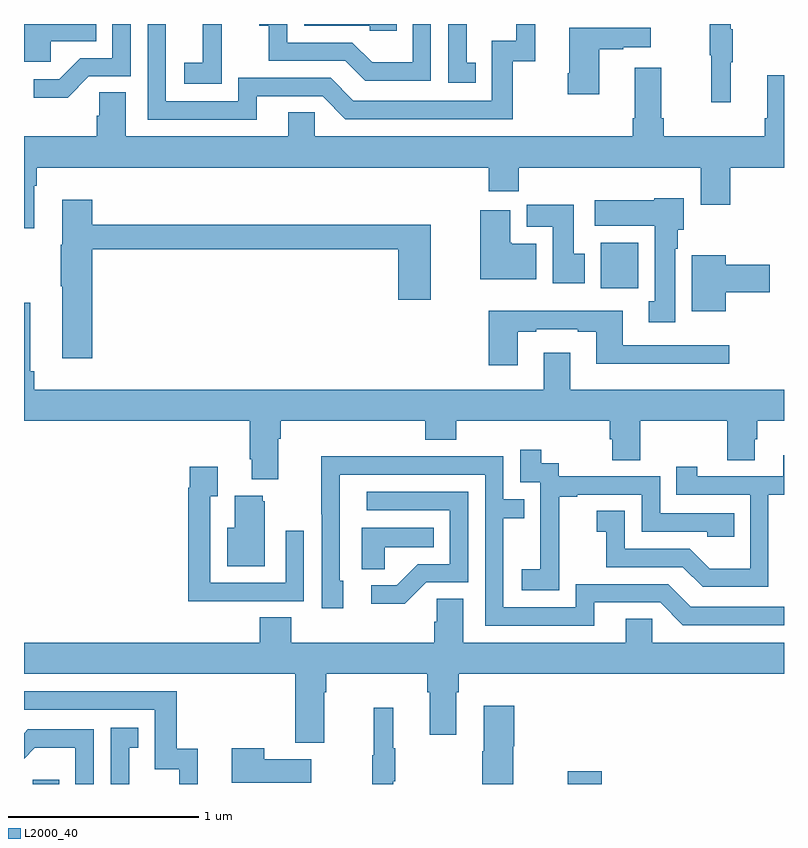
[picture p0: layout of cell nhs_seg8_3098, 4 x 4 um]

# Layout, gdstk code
import gdstk
lib = gdstk.Library(unit=1e-6, precision=1e-09)
def R(c, l, rs):  # rectangles x0, y0, x1, y1
    for r in rs: c.add(gdstk.rectangle(r[:2], r[2:], *l))
def P(c, l, *ps):  # polygons
    for p in ps: c.add(gdstk.Polygon(p, *l))
L2000_40 = (2000, 40)

nhs_seg8_3098 = lib.new_cell('nhs_seg8_3098')
R(nhs_seg8_3098, L2000_40, [(303.045,1135.9,303.185,1135.923), (305.863,1135.9,306.041,1135.966), (306.035,1138.508,306.232,1138.75)])
P(nhs_seg8_3098, L2000_40, [(304.225,1139.52),(304.572,1139.52),(304.692,1139.4),(305.572,1139.4),(305.572,1139.703),(305.69,1139.703),(305.69,1139.9),(305.592,1139.9),(305.592,1139.811),(305.463,1139.811),(305.463,1139.496),(304.734,1139.496),(304.614,1139.616),(304.128,1139.616),(304.128,1139.493),(303.747,1139.493),(303.747,1139.9),(303.651,1139.9),(303.651,1139.397),(304.225,1139.397)],
  [(305.142,1139.9),(305.046,1139.9),(305.046,1139.698),(304.832,1139.698),(304.728,1139.802),(304.386,1139.802),(304.386,1139.9),(304.239,1139.9),(304.239,1139.891),(304.288,1139.891),(304.288,1139.706),(304.691,1139.706),(304.796,1139.601),(305.142,1139.601)],
  [(303.342,1139.625),(303.561,1139.625),(303.561,1139.9),(303.465,1139.9),(303.465,1139.721),(303.296,1139.721),(303.185,1139.61),(303.051,1139.61),(303.051,1139.513),(303.229,1139.513)],
  [(304.961,1139.9),(304.476,1139.9),(304.476,1139.892),(304.821,1139.892),(304.821,1139.865),(304.961,1139.865)],
  [(304.041,1139.791),(304.04,1139.791),(304.04,1139.9),(303.941,1139.9),(303.941,1139.695),(303.843,1139.695),(303.843,1139.585),(304.041,1139.585)],
  [(303.141,1139.81),(303.38,1139.81),(303.38,1139.9),(303,1139.9),(303,1139.702),(303.141,1139.702)],
  [(306.719,1139.699),(306.73,1139.699),(306.73,1139.873),(306.719,1139.873),(306.719,1139.9),(306.609,1139.9),(306.609,1139.736),(306.616,1139.736),(306.616,1139.487),(306.719,1139.487)],
  [(305.378,1139.697),(305.329,1139.697),(305.329,1139.9),(305.232,1139.9),(305.232,1139.592),(305.378,1139.592)],
  [(306.028,1139.767),(306.155,1139.767),(306.155,1139.777),(306.298,1139.777),(306.298,1139.881),(305.87,1139.881),(305.87,1139.641),(305.863,1139.641),(305.863,1139.529),(306.028,1139.529)],
  [(303.055,1139.048),(303.068,1139.048),(303.068,1139.144),(305.447,1139.144),(305.447,1139.02),(305.603,1139.02),(305.603,1139.144),(306.563,1139.144),(306.563,1138.95),(306.716,1138.95),(306.716,1139.144),(307,1139.144),(307,1139.629),(306.911,1139.629),(306.911,1139.404),(306.899,1139.404),(306.899,1139.308),(306.368,1139.308),(306.368,1139.404),(306.355,1139.404),(306.355,1139.671),(306.215,1139.671),(306.215,1139.404),(306.203,1139.404),(306.203,1139.308),(304.53,1139.308),(304.53,1139.435),(304.391,1139.435),(304.391,1139.308),(303.535,1139.308),(303.535,1139.54),(303.396,1139.54),(303.396,1139.417),(303.383,1139.417),(303.383,1139.308),(303,1139.308),(303,1138.824),(303.055,1138.824)],
  [(306.427,1138.718),(306.442,1138.718),(306.442,1138.818),(306.472,1138.818),(306.472,1138.984),(306.318,1138.984),(306.318,1138.972),(306.003,1138.972),(306.003,1138.838),(306.32,1138.838),(306.32,1138.442),(306.287,1138.442),(306.287,1138.329),(306.427,1138.329)],
  [(303.359,1138.714),(304.97,1138.714),(304.97,1138.449),(305.14,1138.449),(305.14,1138.843),(303.359,1138.843),(303.359,1138.975),(303.2,1138.975),(303.2,1138.737),(303.193,1138.737),(303.193,1138.519),(303.2,1138.519),(303.2,1138.14),(303.359,1138.14)],
  [(305.95,1138.692),(305.893,1138.692),(305.893,1138.95),(305.645,1138.95),(305.645,1138.832),(305.783,1138.832),(305.783,1138.536),(305.95,1138.536)],
  [(305.695,1138.744),(305.566,1138.744),(305.566,1138.75),(305.56,1138.75),(305.56,1138.921),(305.402,1138.921),(305.402,1138.556),(305.695,1138.556)],
  [(306.694,1138.487),(306.925,1138.487),(306.925,1138.634),(306.694,1138.634),(306.694,1138.684),(306.515,1138.684),(306.515,1138.388),(306.694,1138.388)],
  [(304.339,1137.716),(304.352,1137.716),(304.352,1137.812),(305.111,1137.812),(305.111,1137.713),(305.276,1137.713),(305.276,1137.812),(306.083,1137.812),(306.083,1137.714),(306.095,1137.714),(306.095,1137.604),(306.243,1137.604),(306.243,1137.812),(306.7,1137.812),(306.7,1137.604),(306.847,1137.604),(306.847,1137.714),(306.86,1137.714),(306.86,1137.812),(307,1137.812),(307,1137.976),(305.875,1137.976),(305.875,1138.171),(305.735,1138.171),(305.735,1137.976),(303.053,1137.976),(303.053,1138.072),(303.034,1138.072),(303.034,1138.432),(303,1138.432),(303,1137.812),(304.187,1137.812),(304.187,1137.61),(304.199,1137.61),(304.199,1137.503),(304.339,1137.503)],
  [(305.599,1138.281),(305.695,1138.281),(305.695,1138.293),(305.915,1138.293),(305.915,1138.281),(306.011,1138.281),(306.011,1138.112),(306.712,1138.112),(306.712,1138.209),(306.151,1138.209),(306.151,1138.39),(305.447,1138.39),(305.447,1138.104),(305.599,1138.104)],
  [(305.817,1137.127),(305.816,1137.127),(305.816,1137.411),(305.911,1137.411),(305.911,1137.423),(306.252,1137.423),(306.252,1137.228),(306.597,1137.228),(306.597,1137.201),(306.737,1137.201),(306.737,1137.324),(306.348,1137.324),(306.348,1137.519),(305.814,1137.519),(305.814,1137.588),(305.722,1137.588),(305.722,1137.658),(305.613,1137.658),(305.613,1137.489),(305.718,1137.489),(305.718,1137.26),(305.717,1137.26),(305.717,1137.031),(305.619,1137.031),(305.619,1136.921),(305.817,1136.921)],
  [(306.918,1137.423),(307,1137.423),(307,1137.631),(306.995,1137.631),(306.995,1137.519),(306.544,1137.519),(306.544,1137.571),(306.433,1137.571),(306.433,1137.423),(306.822,1137.423),(306.822,1137.034),(306.608,1137.034),(306.504,1137.138),(306.162,1137.138),(306.162,1137.337),(306.015,1137.337),(306.015,1137.227),(306.064,1137.227),(306.064,1137.042),(306.467,1137.042),(306.572,1136.937),(306.918,1136.937)],
  [(306.001,1136.856),(306.348,1136.856),(306.468,1136.736),(307,1136.736),(307,1136.832),(306.51,1136.832),(306.39,1136.952),(305.904,1136.952),(305.904,1136.829),(305.523,1136.829),(305.523,1137.298),(305.633,1137.298),(305.633,1137.399),(305.523,1137.399),(305.523,1137.624),(305.027,1137.624),(305.027,1137.626),(304.564,1137.626),(304.564,1137.319),(304.566,1137.319),(304.566,1136.826),(304.681,1136.826),(304.681,1136.97),(304.662,1136.97),(304.662,1137.528),(305.427,1137.528),(305.427,1136.733),(306.001,1136.733)],
  [(304.157,1136.862),(304.473,1136.862),(304.473,1137.232),(304.377,1137.232),(304.377,1136.958),(303.981,1136.958),(303.981,1137.415),(304.021,1137.415),(304.021,1137.571),(303.873,1137.571),(303.873,1137.458),(303.865,1137.458),(303.865,1136.861),(304.157,1136.861)],
  [(305.118,1136.961),(305.337,1136.961),(305.337,1137.438),(304.803,1137.438),(304.803,1137.342),(305.241,1137.342),(305.241,1137.057),(305.072,1137.057),(304.961,1136.946),(304.827,1136.946),(304.827,1136.849),(305.005,1136.849)],
  [(304.267,1137.387),(304.256,1137.387),(304.256,1137.418),(304.109,1137.418),(304.109,1137.25),(304.07,1137.25),(304.07,1137.047),(304.267,1137.047)],
  [(304.899,1137.146),(305.156,1137.146),(305.156,1137.25),(304.778,1137.25),(304.778,1137.031),(304.899,1137.031)],
  [(304.579,1136.384),(304.592,1136.384),(304.592,1136.48),(305.123,1136.48),(305.123,1136.384),(305.135,1136.384),(305.135,1136.16),(305.275,1136.16),(305.275,1136.384),(305.288,1136.384),(305.288,1136.48),(307,1136.48),(307,1136.644),(306.306,1136.644),(306.306,1136.771),(306.167,1136.771),(306.167,1136.644),(305.311,1136.644),(305.311,1136.876),(305.172,1136.876),(305.172,1136.753),(305.159,1136.753),(305.159,1136.644),(304.406,1136.644),(304.406,1136.777),(304.241,1136.777),(304.241,1136.644),(303,1136.644),(303,1136.48),(304.427,1136.48),(304.427,1136.118),(304.579,1136.118)],
  [(303.914,1136.086),(303.803,1136.086),(303.803,1136.388),(303,1136.388),(303,1136.292),(303.687,1136.292),(303.687,1135.977),(303.816,1135.977),(303.816,1135.9),(303.914,1135.9)],
  [(305.574,1136.098),(305.579,1136.098),(305.579,1136.311),(305.42,1136.311),(305.42,1136.072),(305.413,1136.072),(305.413,1135.9),(305.574,1135.9)],
  [(304.943,1135.915),(304.954,1135.915),(304.954,1136.089),(304.943,1136.089),(304.943,1136.302),(304.84,1136.302),(304.84,1136.052),(304.833,1136.052),(304.833,1135.9),(304.943,1135.9)],
  [(303.553,1136.091),(303.602,1136.091),(303.602,1136.197),(303.456,1136.197),(303.456,1135.9),(303.553,1135.9)],
  [(303.366,1136.187),(303.02,1136.187),(303,1136.167),(303,1136.034),(303.056,1136.09),(303.27,1136.09),(303.27,1135.9),(303.366,1135.9)],
  [(304.513,1136.029),(304.265,1136.029),(304.265,1136.089),(304.094,1136.089),(304.094,1135.907),(304.513,1135.907)])

lib.write_gds('nhs_seg8_3098.gds')
